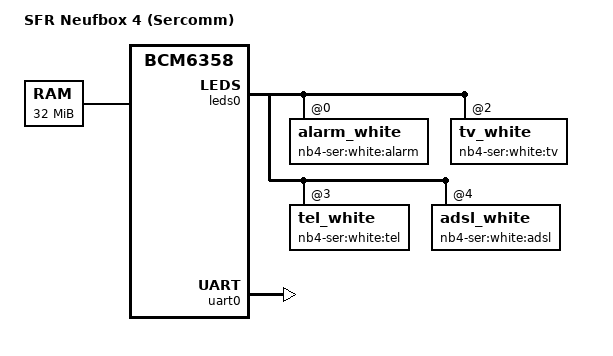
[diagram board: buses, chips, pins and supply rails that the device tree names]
/dts-v1/;

/include/ "bcm6358.dtsi"

/ {
	compatible = "sfr,nb4-ser", "brcm,bcm6358";
	model = "SFR Neufbox 4 (Sercomm)";

	memory@0 {
		device_type = "memory";
		reg = <0x00000000 0x02000000>;
	};

	chosen {
		bootargs = "console=ttyS0,115200";
		stdout-path = &uart0;
	};
};

&leds0 {
	status = "ok";

	alarm_white@0 {
		reg = <0>;
		active-low;
		label = "nb4-ser:white:alarm";
	};
	tv_white@2 {
		reg = <2>;
		active-low;
		label = "nb4-ser:white:tv";
	};
	tel_white@3 {
		reg = <3>;
		active-low;
		label = "nb4-ser:white:tel";
	};
	adsl_white@4 {
		reg = <4>;
		active-low;
		label = "nb4-ser:white:adsl";
	};
};

&uart0 {
	status = "okay";
};
